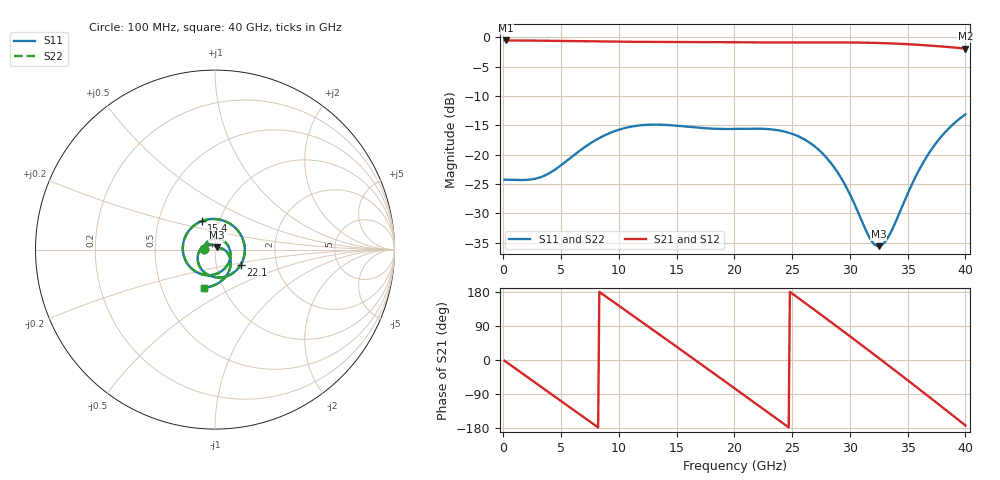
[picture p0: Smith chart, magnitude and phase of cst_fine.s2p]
! A_s4_d200_ap1000: L1→L4 through L2/L3, drill Ø0.2, antipad Ø1, 4 GND vias at 1 mm
! stackup: 4-layer 1.6 mm FR-4
! ports: 1, 2
! CST Studio Suite 2025.5 Release from 2025-05-30, time domain (FIT, hexahedral, PBA), 339264 mesh cells, 45 s
! mesh: {'lpw': 30.0, 'lpb': 30.0, 'minstep': 0.0, 'ratio': 20}; ports: port 1 (face); port 2 (face)
! interpolated from CST's 1001 samples to the case grid
# Hz S RI R 50
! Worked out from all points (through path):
!   400 points, 100 MHz to 40 GHz, reference 50 ohm
!   highest |S21| = -0.55 dB at 200 MHz (marker M1); lowest = -1.9 dB at 40 GHz (marker M2)
!   group delay of S21, straight-line fit = 61.6 ps
!   lowest |S11| = -35.6 dB at 32.5 GHz (marker M3), VSWR 1.03, Z = 51 + j1.32 ohm
!   |S11| at or under -10 dB: start of sweep to end of sweep
!   |S22| runs from -35.6 to -13.1 dB; largest |S21 - S12| = 2.2e-07
!   S11 on the Smith chart (normalised r, x): 100 MHz: 0.88, +0.01; 15.4 GHz: 0.82, +0.27; 22.1 GHz: 1.32, -0.22; 40 GHz: 0.81, -0.36
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1e8  -0.0611 0.00359  0.938 -0.0357  0.938 -0.0357  -0.0611 0.00359
2e8  -0.0608 0.00717  0.936 -0.0713  0.936 -0.0713  -0.0608 0.00717
1.7e9  -0.0319 0.0519  0.7487 -0.5645  0.7487 -0.5645  -0.0319 0.0519
3.6e9  0.0417 0.052  0.1887 -0.9149  0.1887 -0.9149  0.0417 0.052
5.1e9  0.0829 -0.0026  -0.3319 -0.8687  -0.3319 -0.8687  0.0829 -0.0026
6.8e9  0.0673 -0.089  -0.7816 -0.4936  -0.7816 -0.4936  0.0673 -0.089
9.6e9  -0.0843 -0.1339  -0.808 0.4324  -0.808 0.4324  -0.0843 -0.1339
1.16e10  -0.1715 -0.0422  -0.293 0.8653  -0.293 0.8653  -0.1715 -0.0422
1.34e10  -0.1648 0.0731  0.316 0.8565  0.316 0.8565  -0.1648 0.0731
1.54e10  -0.074 0.1586  0.8185 0.4036  0.8185 0.4036  -0.0739 0.1586
1.76e10  0.0591 0.1569  0.8453 -0.3387  0.8453 -0.3387  0.0591 0.1569
2.01e10  0.1599 0.0435  0.2097 -0.8816  0.2097 -0.8816  0.1599 0.0435
2.21e10  0.1442 -0.0831  -0.4587 -0.7779  -0.4587 -0.7779  0.1442 -0.0831
2.45e10  0.0124 -0.1553  -0.8962 -0.1026  -0.8962 -0.1026  0.0123 -0.1553
2.67e10  -0.0901 -0.0836  -0.666 0.61  -0.666 0.61  -0.0901 -0.0836
2.94e10  -0.0546 0.0237  0.2111 0.8779  0.2111 0.8779  -0.0546 0.0237
3.25e10  0.0105 0.0129  0.8895 0.0796  0.8895 0.0796  0.0105 0.0129
3.34e10  0.0183 0.00947  0.8534 -0.2423  0.8534 -0.2423  0.0183 0.00946
3.51e10  0.0489 0.000881  0.4911 -0.72  0.4911 -0.72  0.0489 0.000858
3.66e10  0.0833 -0.0443  -0.0166 -0.8532  -0.0166 -0.8532  0.0833 -0.0443
3.85e10  0.0558 -0.1552  -0.5981 -0.5693  -0.5981 -0.5693  0.0558 -0.1552
4e10  -0.0596 -0.2124  -0.794 -0.1007  -0.794 -0.1007  -0.0596 -0.2124
